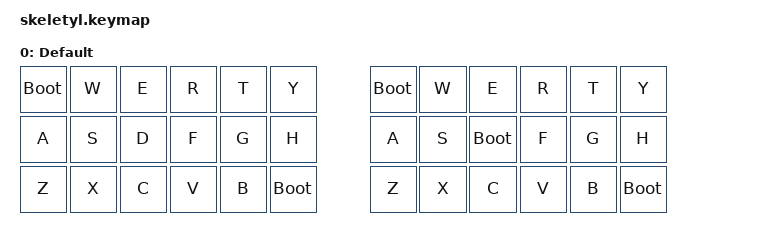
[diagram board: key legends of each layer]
/*
 * 
 *
 * SPDX-License-Identifier: MIT
 */

#include <behaviors.dtsi>
#include <dt-bindings/zmk/keys.h>

#define DEFAULT 0


/ {
    keymap {
        compatible = "zmk,keymap";
        label = "skeletyl";

        default_layer {
            label = "Default";
            bindings = <
                /* Row 0: Q W E R T  Thumb1 */
                &bootloader     &kp W     &kp E     &kp R     &kp T     &kp Y                &bootloader     &kp W     &kp E     &kp R     &kp T     &kp Y

                /* Row 1: A S D F G  Thumb2 */
                &kp A           &kp S     &kp D     &kp F     &kp G     &kp H                &kp A           &kp S     &bootloader     &kp F     &kp G     &kp H

                /* Row 2: Z X C V B  Thumb3 */
                &kp Z           &kp X     &kp C     &kp V     &kp B     &bootloader          &kp Z           &kp X     &kp C     &kp V     &kp B     &bootloader
            >;
        };
    };
};
